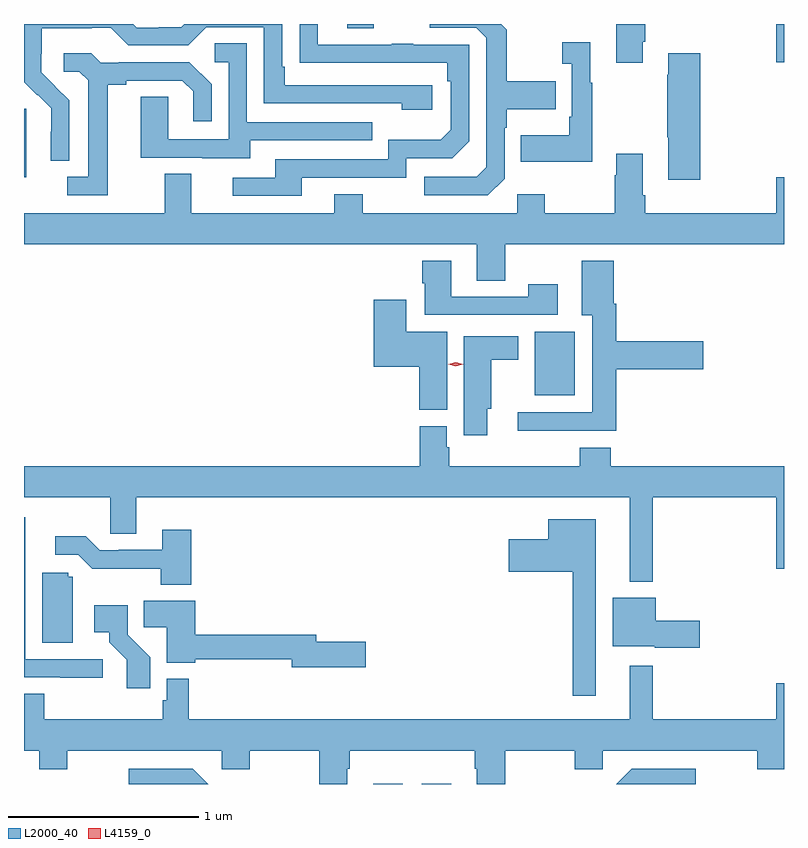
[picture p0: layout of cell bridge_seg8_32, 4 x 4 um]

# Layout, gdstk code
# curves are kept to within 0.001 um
import gdstk
lib = gdstk.Library(unit=1e-6, precision=1e-09)
def R(c, l, rs):  # rectangles x0, y0, x1, y1
    for r in rs: c.add(gdstk.rectangle(r[:2], r[2:], *l))
def P(c, l, *ps):  # polygons
    for p in ps: c.add(gdstk.Polygon(p, *l))
L2000_40 = (2000, 40)
L4159_0 = (4159, 0)

bridge_seg8_32 = lib.new_cell('bridge_seg8_32')
R(bridge_seg8_32, L2000_40, [(1085.963,1149.624,1086.118,1149.625), (1086.218,1149.624,1086.373,1149.625), (1086.812,1151.669,1087.024,1152.004), (1084.125,1152.818,1084.138,1153.179), (1088.084,1153.422,1088.125,1153.624), (1085.825,1153.602,1085.965,1153.624)])
P(bridge_seg8_32, L2000_40, [(1087.381,1153.531),(1087.394,1153.531),(1087.394,1153.624),(1087.241,1153.624),(1087.241,1153.419),(1087.381,1153.419)],
  [(1085.587,1152.816),(1086.138,1152.816),(1086.138,1152.918),(1086.378,1152.918),(1086.468,1153.008),(1086.468,1153.515),(1086.173,1153.515),(1086.173,1153.52),(1086.061,1153.52),(1086.061,1153.515),(1085.671,1153.515),(1085.671,1153.624),(1085.575,1153.624),(1085.575,1153.42),(1086.352,1153.419),(1086.352,1153.322),(1086.372,1153.322),(1086.372,1153.068),(1086.319,1153.015),(1086.042,1153.015),(1086.042,1152.912),(1085.447,1152.912),(1085.447,1152.816),(1085.223,1152.816),(1085.223,1152.72),(1085.587,1152.72)],
  [(1086.654,1152.81),(1086.654,1153.079),(1086.667,1153.079),(1086.667,1153.175),(1086.923,1153.175),(1086.923,1153.323),(1086.667,1153.323),(1086.667,1153.595),(1086.638,1153.624),(1086.261,1153.624),(1086.261,1153.605),(1086.504,1153.605),(1086.558,1153.551),(1086.558,1152.87),(1086.507,1152.819),(1086.231,1152.819),(1086.231,1152.723),(1086.567,1152.723)],
  [(1084.362,1153.222),(1084.216,1153.37),(1084.216,1153.467),(1084.218,1153.467),(1084.218,1153.601),(1084.481,1153.601),(1084.481,1153.605),(1084.581,1153.605),(1084.674,1153.512),(1084.989,1153.512),(1085.085,1153.608),(1085.388,1153.608),(1085.388,1153.206),(1086.113,1153.206),(1086.113,1153.172),(1086.274,1153.172),(1086.274,1153.302),(1085.497,1153.302),(1085.497,1153.399),(1085.484,1153.399),(1085.484,1153.624),(1084.969,1153.624),(1084.953,1153.608),(1084.835,1153.608),(1084.835,1153.605),(1084.719,1153.605),(1084.7,1153.624),(1084.125,1153.624),(1084.125,1153.317),(1084.194,1153.248),(1084.197,1153.251),(1084.268,1153.181),(1084.268,1153.058),(1084.266,1153.058),(1084.266,1152.904),(1084.362,1152.904)],
  [(1087.117,1153.315),(1087.105,1153.315),(1087.105,1153.528),(1086.957,1153.528),(1086.957,1153.415),(1087.008,1153.415),(1087.008,1153.135),(1086.996,1153.135),(1086.996,1153.039),(1086.739,1153.039),(1086.739,1152.899),(1087.117,1152.899)],
  [(1085.317,1153.011),(1085.957,1153.011),(1085.957,1153.107),(1085.298,1153.107),(1085.298,1153.523),(1085.13,1153.523),(1085.13,1153.422),(1085.202,1153.422),(1085.202,1153.017),(1084.884,1153.017),(1084.884,1153.241),(1084.739,1153.241),(1084.739,1152.921),(1085.063,1152.921),(1085.063,1152.917),(1085.317,1152.917)],
  [(1087.685,1153.471),(1087.517,1153.471),(1087.517,1153.358),(1087.51,1153.358),(1087.51,1153.027),(1087.517,1153.027),(1087.517,1152.804),(1087.685,1152.804)],
  [(1084.567,1153.304),(1084.663,1153.304),(1084.663,1153.326),(1084.958,1153.326),(1085.015,1153.269),(1085.015,1153.113),(1085.112,1153.113),(1085.112,1153.306),(1084.996,1153.422),(1084.624,1153.422),(1084.624,1153.419),(1084.53,1153.419),(1084.478,1153.471),(1084.335,1153.471),(1084.335,1153.374),(1084.416,1153.374),(1084.463,1153.327),(1084.463,1152.819),(1084.353,1152.819),(1084.353,1152.723),(1084.567,1152.723)],
  [(1086.657,1152.464),(1088.125,1152.464),(1088.125,1152.817),(1088.084,1152.817),(1088.084,1152.628),(1087.394,1152.628),(1087.394,1152.724),(1087.381,1152.724),(1087.381,1152.94),(1087.241,1152.94),(1087.241,1152.827),(1087.234,1152.827),(1087.234,1152.628),(1086.867,1152.628),(1086.867,1152.727),(1086.72,1152.727),(1086.72,1152.628),(1085.907,1152.628),(1085.907,1152.727),(1085.759,1152.727),(1085.759,1152.628),(1085.005,1152.628),(1085.005,1152.836),(1084.865,1152.836),(1084.865,1152.628),(1084.125,1152.628),(1084.125,1152.464),(1086.509,1152.464),(1086.509,1152.274),(1086.657,1152.274)],
  [(1087.241,1151.807),(1087.699,1151.807),(1087.699,1151.954),(1087.241,1151.954),(1087.241,1152.152),(1087.228,1152.152),(1087.228,1152.379),(1087.061,1152.379),(1087.061,1152.092),(1087.115,1152.092),(1087.115,1151.58),(1086.723,1151.58),(1086.723,1151.483),(1087.241,1151.483)],
  [(1086.934,1152.253),(1086.778,1152.253),(1086.778,1152.189),(1086.373,1152.189),(1086.373,1152.379),(1086.221,1152.379),(1086.221,1152.259),(1086.233,1152.259),(1086.233,1152.093),(1086.934,1152.093)],
  [(1086.352,1152.004),(1086.136,1152.004),(1086.136,1152.172),(1085.966,1152.172),(1085.966,1151.819),(1086.206,1151.819),(1086.206,1151.593),(1086.352,1151.593)],
  [(1086.562,1151.598),(1086.583,1151.598),(1086.583,1151.858),(1086.727,1151.858),(1086.727,1151.98),(1086.44,1151.98),(1086.44,1151.46),(1086.562,1151.46)],
  [(1087.435,1151.132),(1088.084,1151.132),(1088.084,1150.758),(1088.125,1150.758),(1088.125,1151.296),(1087.214,1151.296),(1087.214,1151.395),(1087.049,1151.395),(1087.049,1151.296),(1086.362,1151.296),(1086.362,1151.397),(1086.349,1151.397),(1086.349,1151.508),(1086.209,1151.508),(1086.209,1151.296),(1084.125,1151.296),(1084.125,1151.132),(1084.578,1151.132),(1084.578,1150.942),(1084.717,1150.942),(1084.717,1151.132),(1087.313,1151.132),(1087.313,1150.688),(1087.435,1150.688)],
  [(1084.54,1150.281),(1084.131,1150.281),(1084.131,1150.806),(1084.132,1150.806),(1084.132,1151.029),(1084.125,1151.029),(1084.125,1150.185),(1084.315,1150.185),(1084.315,1150.183),(1084.54,1150.183)],
  [(1087.135,1151.017),(1086.884,1151.017),(1086.884,1150.912),(1086.675,1150.912),(1086.675,1150.742),(1087.014,1150.742),(1087.014,1150.089),(1087.135,1150.089)],
  [(1085.006,1150.963),(1084.853,1150.963),(1084.853,1150.857),(1084.624,1150.857),(1084.624,1150.854),(1084.524,1150.854),(1084.451,1150.927),(1084.29,1150.927),(1084.29,1150.83),(1084.41,1150.83),(1084.483,1150.757),(1084.846,1150.758),(1084.846,1150.673),(1085.006,1150.673)],
  [(1084.381,1150.716),(1084.359,1150.716),(1084.359,1150.737),(1084.22,1150.737),(1084.22,1150.368),(1084.381,1150.368)],
  [(1087.681,1150.484),(1087.45,1150.484),(1087.45,1150.603),(1087.223,1150.603),(1087.223,1150.349),(1087.446,1150.349),(1087.446,1150.342),(1087.681,1150.342)],
  [(1085.923,1150.373),(1085.662,1150.373),(1085.662,1150.409),(1085.027,1150.409),(1085.027,1150.588),(1084.756,1150.588),(1084.756,1150.45),(1084.877,1150.45),(1084.877,1150.262),(1085.027,1150.262),(1085.027,1150.281),(1085.534,1150.281),(1085.534,1150.238),(1085.923,1150.238)],
  [(1084.79,1150.29),(1084.671,1150.409),(1084.671,1150.564),(1084.494,1150.564),(1084.494,1150.424),(1084.574,1150.424),(1084.574,1150.369),(1084.665,1150.279),(1084.665,1150.128),(1084.79,1150.128)],
  [(1085.827,1149.704),(1085.84,1149.704),(1085.84,1149.8),(1086.497,1149.8),(1086.497,1149.704),(1086.509,1149.704),(1086.509,1149.624),(1086.657,1149.624),(1086.657,1149.8),(1087.024,1149.8),(1087.024,1149.701),(1087.17,1149.701),(1087.17,1149.8),(1087.984,1149.8),(1087.984,1149.701),(1088.125,1149.701),(1088.125,1150.153),(1088.084,1150.153),(1088.084,1149.964),(1087.435,1149.964),(1087.435,1150.246),(1087.313,1150.246),(1087.313,1149.964),(1084.991,1149.964),(1084.991,1150.177),(1084.875,1150.177),(1084.875,1150.065),(1084.855,1150.065),(1084.855,1149.964),(1084.232,1149.964),(1084.232,1150.1),(1084.125,1150.1),(1084.125,1149.8),(1084.205,1149.8),(1084.205,1149.701),(1084.353,1149.701),(1084.353,1149.8),(1085.166,1149.8),(1085.166,1149.701),(1085.313,1149.701),(1085.313,1149.8),(1085.68,1149.8),(1085.68,1149.624),(1085.827,1149.624)],
  [(1087.66,1149.705),(1087.323,1149.705),(1087.242,1149.624),(1087.66,1149.624)],
  [(1085.013,1149.705),(1084.677,1149.705),(1084.677,1149.624),(1085.094,1149.624)])
P(bridge_seg8_32, L4159_0, [(1086.397,1151.824),(1086.358,1151.834),(1086.358,1151.834),(1086.358,1151.834),(1086.397,1151.844),(1086.437,1151.834),(1086.437,1151.834),(1086.437,1151.834)])

lib.write_gds('bridge_seg8_32.gds')
